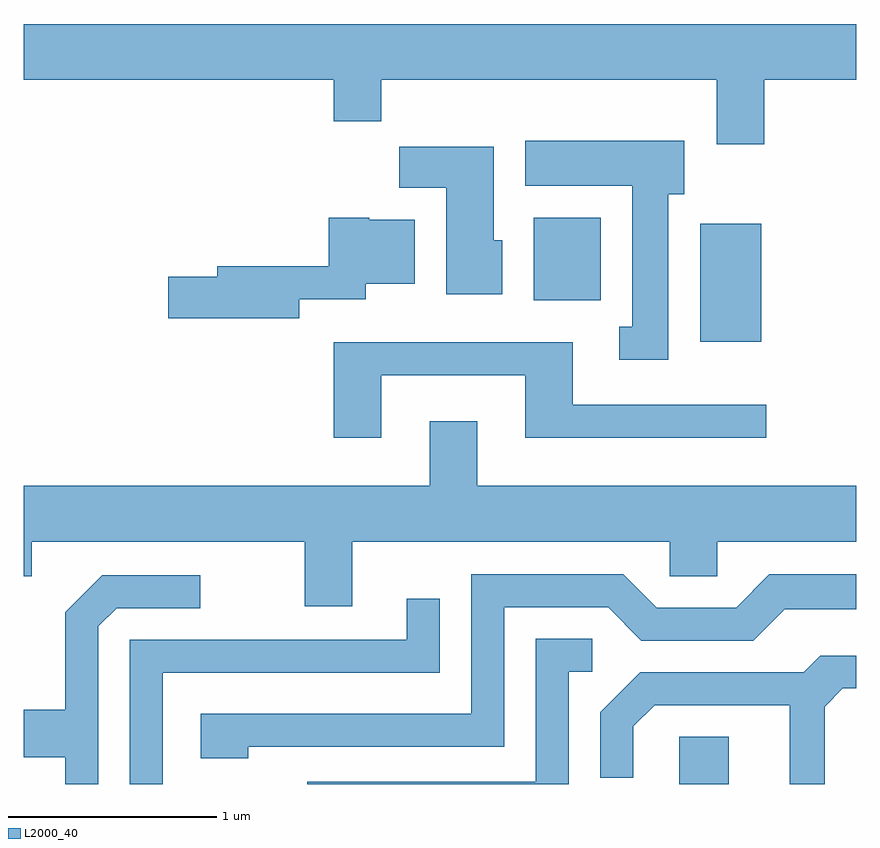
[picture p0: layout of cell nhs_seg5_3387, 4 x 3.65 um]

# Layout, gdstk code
import gdstk
lib = gdstk.Library(unit=1e-6, precision=1e-09)
def R(c, l, rs):  # rectangles x0, y0, x1, y1
    for r in rs: c.add(gdstk.rectangle(r[:2], r[2:], *l))
def P(c, l, *ps):  # polygons
    for p in ps: c.add(gdstk.Polygon(p, *l))
L2000_40 = (2000, 40)

nhs_seg5_3387 = lib.new_cell('nhs_seg5_3387')
R(nhs_seg5_3387, L2000_40, [(288.761,1460.072,288.999,1460.299), (288.861,1462.196,289.154,1462.764), (288.061,1462.396,288.384,1462.794)])
P(nhs_seg5_3387, L2000_40, [(289.169,1463.456),(289.611,1463.456),(289.611,1463.724),(285.611,1463.724),(285.611,1463.456),(287.101,1463.456),(287.101,1463.256),(287.329,1463.256),(287.329,1463.456),(288.941,1463.456),(288.941,1463.146),(289.169,1463.146)],
  [(288.709,1462.906),(288.784,1462.906),(288.784,1463.164),(288.021,1463.164),(288.021,1462.946),(288.536,1462.946),(288.536,1462.269),(288.473,1462.269),(288.473,1462.111),(288.709,1462.111)],
  [(287.909,1462.684),(287.869,1462.684),(287.869,1463.134),(287.416,1463.134),(287.416,1462.936),(287.641,1462.936),(287.641,1462.426),(287.909,1462.426)],
  [(286.934,1462.401),(287.254,1462.401),(287.254,1462.476),(287.489,1462.476),(287.489,1462.784),(287.27,1462.784),(287.27,1462.794),(287.076,1462.794),(287.076,1462.559),(286.541,1462.559),(286.541,1462.509),(286.306,1462.509),(286.306,1462.311),(286.934,1462.311)],
  [(287.329,1462.036),(288.021,1462.036),(288.021,1461.736),(289.178,1461.736),(289.178,1461.894),(288.249,1461.894),(288.249,1462.194),(287.101,1462.194),(287.101,1461.736),(287.329,1461.736)],
  [(287.189,1461.236),(288.716,1461.236),(288.716,1461.071),(288.944,1461.071),(288.944,1461.236),(289.611,1461.236),(289.611,1461.504),(287.789,1461.504),(287.789,1461.814),(287.561,1461.814),(287.561,1461.504),(285.611,1461.504),(285.611,1461.071),(285.649,1461.071),(285.649,1461.236),(286.961,1461.236),(286.961,1460.926),(287.189,1460.926)],
  [(286.689,1460.251),(287.919,1460.251),(287.919,1460.921),(288.419,1460.921),(288.579,1460.761),(289.117,1460.761),(289.267,1460.911),(289.611,1460.911),(289.611,1461.079),(289.194,1461.079),(289.034,1460.919),(288.652,1460.919),(288.492,1461.079),(287.761,1461.079),(287.761,1460.409),(286.461,1460.409),(286.461,1460.196),(286.689,1460.196)],
  [(285.969,1460.829),(286.057,1460.916),(286.458,1460.916),(286.458,1461.074),(285.989,1461.074),(285.811,1460.897),(285.811,1460.429),(285.611,1460.429),(285.611,1460.201),(285.811,1460.201),(285.811,1460.072),(285.969,1460.072)],
  [(286.279,1460.606),(287.609,1460.606),(287.609,1460.963),(287.451,1460.963),(287.451,1460.764),(286.121,1460.764),(286.121,1460.072),(286.279,1460.072)],
  [(288.229,1460.611),(288.343,1460.611),(288.343,1460.769),(288.071,1460.769),(288.071,1460.084),(286.973,1460.084),(286.973,1460.072),(288.229,1460.072)],
  [(289.459,1460.444),(289.547,1460.531),(289.611,1460.531),(289.611,1460.689),(289.439,1460.689),(289.359,1460.609),(288.574,1460.609),(288.381,1460.417),(288.381,1460.103),(288.539,1460.103),(288.539,1460.349),(288.642,1460.451),(289.291,1460.451),(289.291,1460.072),(289.459,1460.072)])

lib.write_gds('nhs_seg5_3387.gds')
